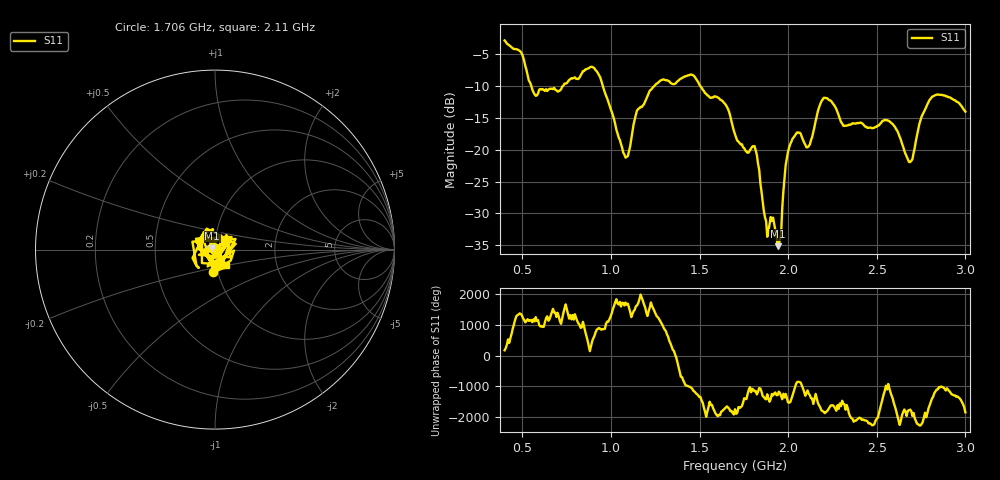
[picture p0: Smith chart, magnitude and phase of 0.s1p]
!Created with skrf (http://scikit-rf.org).
# Hz S RI R 50.0
!freq ReS11 ImS11
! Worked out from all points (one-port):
!   401 points, 400 MHz to 3 GHz, reference 50 ohm
!   lowest |S11| = -35.2 dB at 1.94 GHz (marker M1), VSWR 1.04, Z = 48.5 + j0.773 ohm
!   |S11| at or under -10 dB: 550.7 MHz to 728.5 MHz (177.8 MHz wide, 27.8 % of centre); 953.9 MHz to 1.245 GHz (291.3 MHz wide, 26.5 % of centre); 1.504 GHz to end of sweep
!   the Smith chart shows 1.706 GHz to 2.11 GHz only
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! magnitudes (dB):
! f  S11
! 400 MHz  -2.8
! 491 MHz  -4.6
! 569 MHz  -11.3
! 725 MHz  -10.1
! 907 MHz  -7.2
! 1.05 GHz  -18.5
! 1.089 GHz  -21.1
! 1.147 GHz  -13.8
! 1.226 GHz  -10.6
! 1.375 GHz  -9.2
! 1.46 GHz  -8.3
! 1.622 GHz  -12.2
! 1.7 GHz  -17.6
! 1.81 GHz  -19.4
! 1.875 GHz  -31.2
! 1.915 GHz  -30.7
! 1.94 GHz  -35.2
! 1.954 GHz  -34.1
! 1.992 GHz  -21.3
! 2.025 GHz  -18.2
! 2.116 GHz  -19.4
! 2.207 GHz  -11.8
! 2.35 GHz  -16.1
! 2.571 GHz  -15.5
! 2.675 GHz  -21.5
! 2.701 GHz  -21.5
! 2.812 GHz  -11.7
! 3 GHz  -14.0
